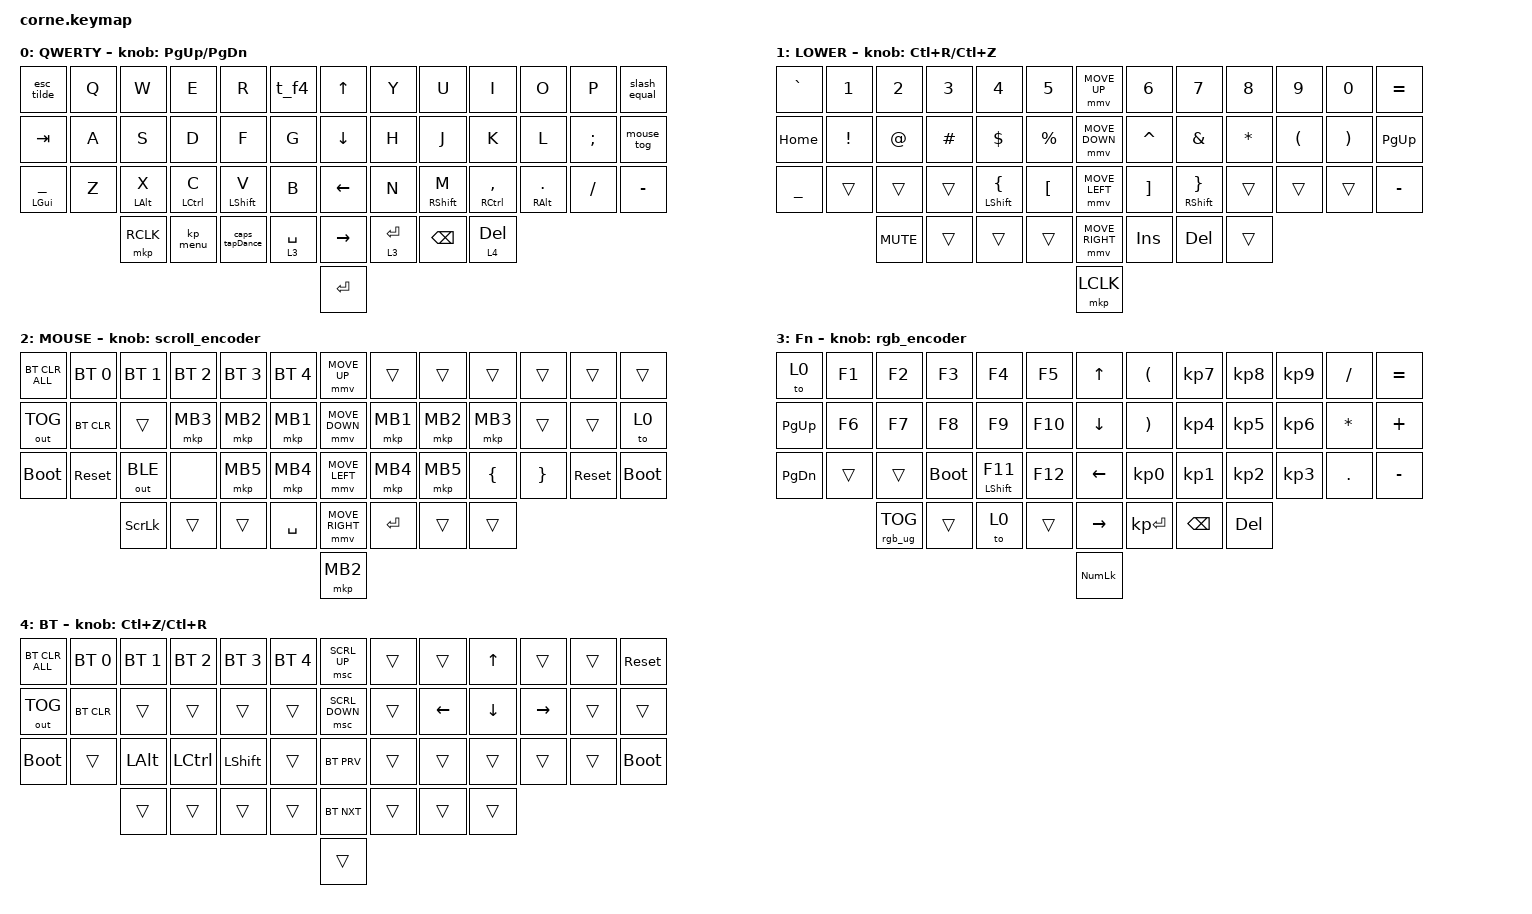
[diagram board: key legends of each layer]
#define ZMK_MOUSE_DEFAULT_MOVE_VAL 1200  // 600
#define ZMK_MOUSE_DEFAULT_SCRL_VAL 25    // 10

#include <input/processors.dtsi>
#include <zephyr/dt-bindings/input/input-event-codes.h>
#include <behaviors.dtsi>
#include <dt-bindings/zmk/bt.h>
#include <dt-bindings/zmk/keys.h>
#include <dt-bindings/zmk/outputs.h>
#include <dt-bindings/zmk/pointing.h>
#include <dt-bindings/zmk/rgb.h>

// #define U_MS_U &mmv MOVE_UP
// #define U_MS_D &mmv MOVE_DOWN
// #define U_MS_L &mmv MOVE_LEFT
// #define U_MS_R &mmv MOVE_RIGHT

&mmv_input_listener { input-processors = <&zip_xy_scaler 2 1>; };

&msc_input_listener { input-processors = <&zip_scroll_scaler 2 1>; };

/ {
    behaviors {
        esc_tilde: esc_tilde {
            compatible = "zmk,behavior-mod-morph";
            label = "ESC_TILDE";
            bindings = <&kp ESC>, <&kp TILDE>;

            #binding-cells = <0>;
            mods = <(MOD_RSFT|MOD_LSFT)>;
        };

        slash_equal: slash_equal {
            compatible = "zmk,behavior-mod-morph";
            label = "SLASH_EQUAL";
            bindings = <&kp BACKSLASH>, <&kp EQUAL>;

            #binding-cells = <0>;
            mods = <(MOD_LCTL|MOD_RCTL)>;
        };

        t_f4: t_f4 {
            compatible = "zmk,behavior-mod-morph";
            label = "T_F4";
            bindings = <&kp T>, <&kp LA(F4)>;

            #binding-cells = <0>;
            mods = <(MOD_RGUI|MOD_LGUI)>;
        };

        mouse_tog: mouse_tog {
            compatible = "zmk,behavior-tap-dance";
            label = "MOUSE_TOG";
            #binding-cells = <0>;
            bindings = <&kp SQT>, <&none>, <&tog 2>;
        };

        caps_num: caps_num {
            compatible = "zmk,behavior-hold-tap";
            label = "CAPS_NUM";
            bindings = <&mo>, <&caps_word>;

            #binding-cells = <2>;
            tapping-term-ms = <200>;
        };

        caps_tog: caps_tog {
            compatible = "zmk,behavior-tap-dance";
            label = "CAPS_TOG";
            #binding-cells = <0>;
            bindings = <&caps_num 1 0>, <&tog 3>;
        };

        kp_menu: kp_menu {
            compatible = "zmk,behavior-tap-dance";
            label = "KP_MENU";
            #binding-cells = <0>;
            bindings = <&mt LGUI C_MENU>, <&kp K_MENU>;
        };

        caps_tapDance: caps_tapDance {
            compatible = "zmk,behavior-tap-dance";
            label = "CAPS_TAPDANCE";
            #binding-cells = <0>;
            bindings = <&caps_word>, <&kp CAPSLOCK>, <&to 3>;
        };

        mmv {
            acceleration-exponent = <1>;      // 1
            time-to-max-speed-ms = <900>;    // 40
            delay-ms = <0>;                   // 0
        };

        msc {
            acceleration-exponent = <1>;      // 0
            time-to-max-speed-ms = <400>;      // 500
            delay-ms = <0>;                   // 10
        };
    };

    rgb_encoder: rgb_encoder {
        compatible = "zmk,behavior-sensor-rotate";
        label = "RGB_ENCODER";
        #sensor-binding-cells = <0>;
        bindings = <&rgb_ug RGB_BRI>, <&rgb_ug RGB_BRD>;
    };

    scroll_encoder: scroll_encoder {
        compatible = "zmk,behavior-sensor-rotate";
        #sensor-binding-cells = <0>;
        bindings = <&msc SCRL_DOWN>, <&msc SCRL_UP>;

        tap-ms = <100>;
        label = "SCROLL_ENCODER";
    };

    combos {
        compatible = "zmk,combos";

        all {
            bindings = <&kp LC(A)>;
            key-positions = <14 15>;
            layers = <0 1 2>;
        };

        paste {
            bindings = <&kp LC(V)>;
            key-positions = <30 29>;
            layers = <0 1 2>;
        };

        copy {
            bindings = <&kp LC(C)>;
            key-positions = <29 28>;
            layers = <0 2 1>;
        };

        cut {
            bindings = <&kp LC(X)>;
            key-positions = <28 27>;
            layers = <0 2 1>;
        };
    };

    keymap {
        compatible = "zmk,keymap";

        default_layer {
            display-name = "QWERTY";

            // --------------------------------------------------------------------------------
            // |  TAB |  Q  |  W  |  E  |  R  |  T  |                ↑    |  Y  |  U   |  I  |  O  |  P  | BKSP |      &kp UP_ARROW 
            // | SHIFT |  A  |  S  |  D  |  F  |  G  |               ↓    |  H  |  J   |  K  |  L  |  ;  |  '   | 
            // | CTRL |  Z  |  X  |  C  |  V  |  B  |                ←    |  N  |  M   |  ,  |  .  |  /  | ESC  |
            //                    | GUI | LWR | SPC |                →    | ENT | RSE  | ALT |
            //                                                      enter

            bindings = <
&esc_tilde               &kp Q  &kp W           &kp E        &kp R             &t_f4          &kp UP_ARROW     &kp Y        &kp U              &kp I            &kp O              &kp P     &slash_equal
&kp TAB                  &kp A  &kp S           &kp D        &kp F             &kp G          &kp DOWN_ARROW   &kp H        &kp J              &kp K            &kp L              &kp SEMI  &mouse_tog
&mt LEFT_GUI UNDERSCORE  &kp Z  &mt LEFT_ALT X  &mt LCTRL C  &mt LEFT_SHIFT V  &kp B          &kp LEFT_ARROW   &kp N        &mt RIGHT_SHIFT M  &mt RCTRL COMMA  &mt RIGHT_ALT DOT  &kp FSLH  &kp MINUS
                                &mkp RCLK       &kp_menu     &caps_tapDance    &lt 3 SPACE    &kp RIGHT_ARROW  &lt 3 ENTER  &kp BACKSPACE      &lt 4 DEL
                                                                                              &kp ENTER
            >;

            label = "QWERTY";
            sensor-bindings = <&inc_dec_kp PAGE_UP PAGE_DOWN>;
        };

        lower_layer {
            display-name = "LOWER";

            // -----------------------------------------------------------------------------------------
            // |  TAB |  1  |  2  |  3  |  4  |  5  |   |  6  |  7  |  8  |  9  |  0  | BKSP |
            // | BTCLR| BT1 | BT2 | BT3 | BT4 | BT5 |   | LFT | DWN |  UP | RGT |     |      |
            // | SHFT |     |     |     |     |     |   |     |     |     |     |     |      |
            //                    | GUI |     | SPC |   | ENT |     | ALT |

            bindings = <
&kp GRAVE       &kp N1           &kp N2       &kp N3    &kp N4                     &kp N5              &mmv MOVE_UP     &kp N6             &kp N7                       &kp N8        &kp N9                &kp N0                 &kp EQUAL
&kp HOME        &kp EXCLAMATION  &kp AT_SIGN  &kp HASH  &kp DOLLAR                 &kp PERCENT         &mmv MOVE_DOWN   &kp CARET          &kp AMPERSAND                &kp ASTERISK  &kp LEFT_PARENTHESIS  &kp RIGHT_PARENTHESIS  &kp PG_UP
&kp UNDERSCORE  &trans           &trans       &trans    &mt LEFT_SHIFT LEFT_BRACE  &kp LEFT_BRACKET    &mmv MOVE_LEFT   &kp RIGHT_BRACKET  &mt RIGHT_SHIFT RIGHT_BRACE  &trans        &trans                &trans                 &kp MINUS
                                 &kp C_MUTE   &trans    &trans                     &trans              &mmv MOVE_RIGHT  &kp INS            &kp DEL                      &trans
                                                                                                       &mkp LCLK
            >;

            label = "NUMBER";
            sensor-bindings = <&inc_dec_kp LC(R) LC(Z)>;
        };

        mouse_layer {
            display-name = "MOUSE";

            // -----------------------------------------------------------------------------------------
            // |  TAB |  !  |  @  |  #  |  $  |  %  |   |  ^  |  &  |  *  |  (  |  )  | BKSP |
            // | CTRL |     |     |     |     |     |   |  -  |  =  |  [  |  ]  |  \  |  `   |
            // | SHFT |     |     |     |     |     |   |  _  |  +  |  {  |  }  | "|" |  ~   |
            //                    | GUI |     | SPC |   | ENT |     | ALT |

            bindings = <
&bt BT_CLR_ALL  &bt BT_SEL 0  &bt BT_SEL 1    &bt BT_SEL 2  &bt BT_SEL 3  &bt BT_SEL 4    &mmv MOVE_UP     &trans     &trans    &trans    &trans    &trans      &trans
&out OUT_TOG    &bt BT_CLR    &trans          &mkp MB3      &mkp MB2      &mkp MB1        &mmv MOVE_DOWN   &mkp MB1   &mkp MB2  &mkp MB3  &trans    &trans      &to 0
&bootloader     &sys_reset    &out OUT_BLE    &none         &mkp MB5      &mkp MB4        &mmv MOVE_LEFT   &mkp MB4   &mkp MB5  &kp LBRC  &kp RBRC  &sys_reset  &bootloader
                              &kp SCROLLLOCK  &trans        &trans        &kp SPACE       &mmv MOVE_RIGHT  &kp ENTER  &trans    &trans
                                                                                          &mkp MB2
            >;

            label = "SYMBOL";
            sensor-bindings = <&scroll_encoder>;
        };

        FN-Num {
            display-name = "Fn";
            bindings = <
&to 0          &kp F1  &kp F2           &kp F3       &kp F4              &kp F5     &kp UP          &kp LEFT_PARENTHESIS   &kp KP_NUMBER_7  &kp KP_NUMBER_8  &kp KP_NUMBER_9  &kp SLASH     &kp EQUAL
&kp PAGE_UP    &kp F6  &kp F7           &kp F8       &kp F9              &kp F10    &kp DOWN        &kp RIGHT_PARENTHESIS  &kp KP_NUMBER_4  &kp KP_NUMBER_5  &kp KP_NUMBER_6  &kp ASTERISK  &kp PLUS
&kp PAGE_DOWN  &trans  &trans           &bootloader  &mt LEFT_SHIFT F11  &kp F12    &kp LEFT        &kp KP_NUMBER_0        &kp KP_NUMBER_1  &kp KP_NUMBER_2  &kp KP_NUMBER_3  &kp PERIOD    &kp MINUS
                       &rgb_ug RGB_TOG  &trans       &to 0               &trans     &kp RIGHT       &kp KP_ENTER           &kp BACKSPACE    &kp DEL
                                                                                    &kp KP_NUMLOCK
            >;

            label = "FN-NUM";
            sensor-bindings = <&rgb_encoder>;
        };

        MISC {
            bindings = <
&bt BT_CLR_ALL  &bt BT_SEL 0  &bt BT_SEL 1  &bt BT_SEL 2  &bt BT_SEL 3    &bt BT_SEL 4    &msc SCRL_UP    &trans  &trans    &kp UP_ARROW  &trans     &trans  &sys_reset
&out OUT_TOG    &bt BT_CLR    &trans        &trans        &trans          &trans          &msc SCRL_DOWN  &trans  &kp LEFT  &kp DOWN      &kp RIGHT  &trans  &trans
&bootloader     &trans        &kp LEFT_ALT  &kp LCTRL     &kp LEFT_SHIFT  &trans          &bt BT_PRV      &trans  &trans    &trans        &trans     &trans  &bootloader
                              &trans        &trans        &trans          &trans          &bt BT_NXT      &trans  &trans    &trans
                                                                                          &trans
            >;

            label = "BT";
            sensor-bindings = <&inc_dec_kp LC(Z) LC(R)>;
        };
    };
};
